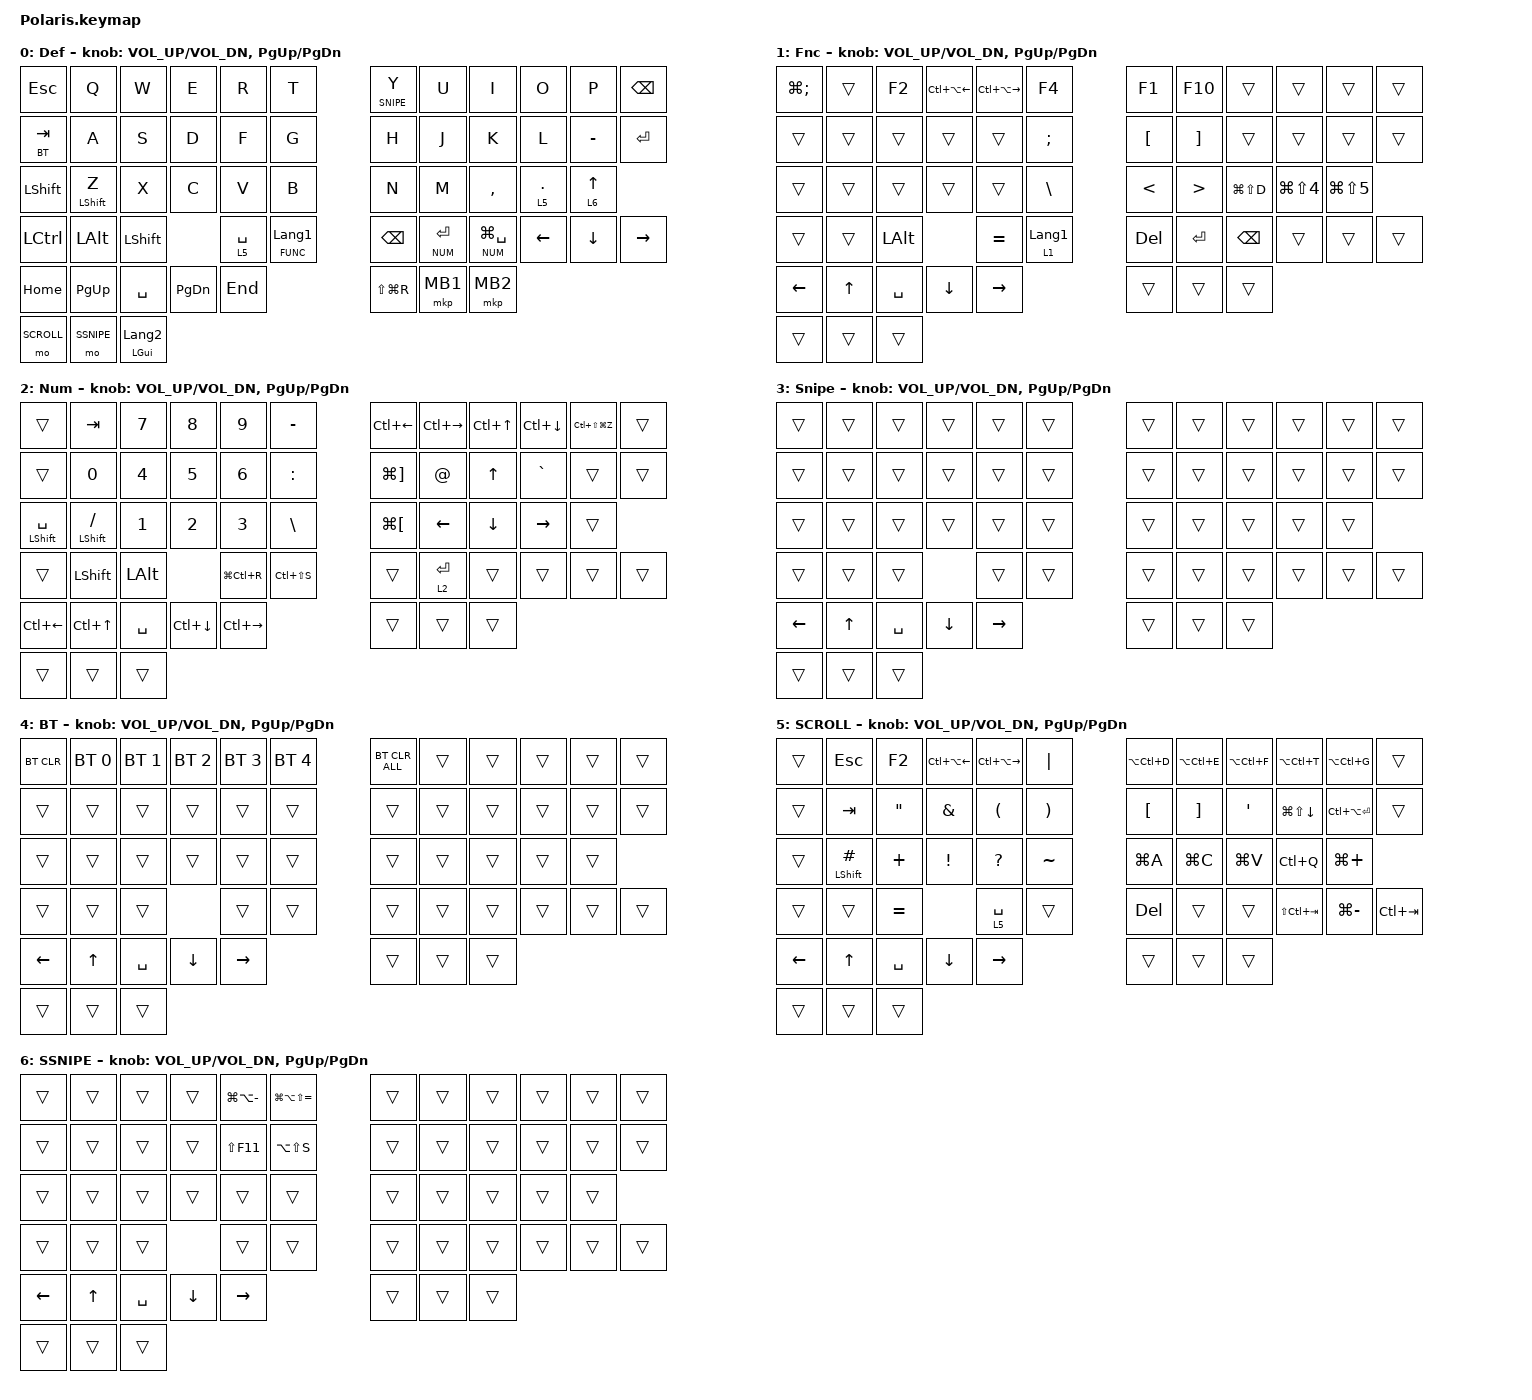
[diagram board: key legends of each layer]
// #include <layout_shift.dtsi>

#include <behaviors.dtsi>
#include <dt-bindings/zmk/bt.h>
#include <dt-bindings/zmk/keys.h>
#include <dt-bindings/zmk/pointing.h>
#include "layout_shift.dtsi"

/ {
    behaviors {
        z_shft: zmk,behavior-hold-tap {
            compatible = "zmk,behavior-hold-tap";
            #binding-cells = <2>;
            flavor = "tap-preferred";
            tapping-term-ms = <250>;
            require-prior-idle-ms = <150>;
            bindings = <&kp>, <&kp>;
        };

        rsr_vol: rsr_vol {
            compatible = "zmk,behavior-runtime-sensor-rotate";
            #sensor-binding-cells = <0>;
            tap-ms = <5>;
            cw-binding = <&kp C_VOL_UP>;
            ccw-binding = <&kp C_VOL_DN>;
        };

        // mouse scroll

        rsr_msch: rsr_msch {
            compatible = "zmk,behavior-runtime-sensor-rotate";
            #sensor-binding-cells = <0>;
            tap-ms = <20>;
            cw-binding = <&msc SCRL_DOWN>;
            ccw-binding = <&msc SCRL_UP>;
        };

        rsr_mscv: rsr_mscv {
            compatible = "zmk,behavior-runtime-sensor-rotate";
            #sensor-binding-cells = <0>;
            tap-ms = <20>;
            cw-binding = <&msc SCRL_RIGHT>;
            ccw-binding = <&msc SCRL_LEFT>;
        };
    };
};

#define DEF 0
#define FUNC 1
#define NUM 2
#define SNIPE 3
#define BT 4
#define SCROLL 5
#define SSNIPE 6

// 打鍵の直後（150ms以内）に押した &lt は、押した瞬間にタップとして確定する（2026-09-25）。
// 既定だと離すまで出力が保留され、その間に押した次のキーも待たされる＝タイピングのもっさり感

&lt { require-prior-idle-ms = <150>; };

/ {
    combos {
        compatible = "zmk,combos";

        cmd+t {
            bindings = <&kp LG(T)>;
            key-positions = <5 4>;
            require-prior-idle-ms = <150>;
        };

        cmd+n {
            bindings = <&kp LG(N)>;
            key-positions = <30 31>;
            require-prior-idle-ms = <150>;
        };

        cmd+option+u {
            bindings = <&kp LA(LG(U))>;
            key-positions = <6 7>;
            require-prior-idle-ms = <150>;
        };

        cmd+shift+v {
            bindings = <&kp LG(LS(V))>;
            key-positions = <29 28>;
            require-prior-idle-ms = <150>;
        };

        cmd+w {
            bindings = <&kp LG(W)>;
            key-positions = <1 2>;
            require-prior-idle-ms = <150>;
        };

        cmd+g {
            bindings = <&kp LG(F)>;
            key-positions = <17 16>;
            require-prior-idle-ms = <150>;
        };
    };

    keymap {
        compatible = "zmk,keymap";

        default_layer {
            label = "Def";
            bindings = <
&kp ESCAPE  &kp Q             &kp W      &kp E          &kp R        &kp T                        &lt SNIPE Y    &kp U          &kp I              &kp O      &kp P           &kp BACKSPACE
&lt BT TAB  &kp A             &kp S      &kp D          &kp F        &kp G                        &kp H          &kp J          &kp K              &kp L      &kp MINUS       &kp ENTER
&kp LSHFT   &z_shft LSHIFT Z  &kp X      &kp C          &kp V        &kp B                        &kp N          &kp M          &kp COMMA          &lt 5 DOT  &lt 6 UP_ARROW
&kp LCTRL   &kp LALT          &kp LSHFT                 &lt 5 SPACE  &lt FUNC LANGUAGE_1          &kp BACKSPACE  &lt NUM ENTER  &lt NUM LG(SPACE)  &kp LEFT   &kp DOWN        &kp RIGHT
&kp HOME    &kp PAGE_UP       &kp SPACE  &kp PAGE_DOWN  &kp END                                   &kp LS(LG(R))  &mkp MB1       &mkp MB2
&mo SCROLL  &mo SSNIPE  &mt LGUI LANGUAGE_2
            >;

            sensor-bindings = <&inc_dec_kp C_VOL_UP C_VOL_DN &inc_dec_kp PG_UP PG_DN>;
        };

        function_layer {
            label = "Fnc";
            bindings = <
&kp LG(SEMICOLON)  &trans  &kp F2     &kp LC(LA(LEFT))  &kp LC(LA(RIGHT))  &kp F4                    &kp F1            &kp F10            &trans         &trans                &trans          &trans
&trans             &trans  &trans     &trans            &trans             &kp SEMICOLON             &kp LEFT_BRACKET  &kp RIGHT_BRACKET  &trans         &trans                &trans          &trans
&trans             &trans  &trans     &trans            &trans             &kp BACKSLASH             &kp LESS_THAN     &kp GREATER_THAN   &kp LG(LS(D))  &kp LG(LS(NUMBER_4))  &kp LG(LS(N5))
&trans             &trans  &kp LALT                     &kp EQUAL          &lt 1 LANGUAGE_1          &kp DELETE        &kp ENTER          &kp BKSP       &trans                &trans          &trans
&kp LEFT           &kp UP  &kp SPACE  &kp DOWN          &kp RIGHT                                    &trans            &trans             &trans
&trans             &trans  &trans
            >;

            sensor-bindings = <&inc_dec_kp C_VOL_UP C_VOL_DN &inc_dec_kp PG_UP PG_DN>;
        };

        num_layer {
            label = "Num";
            bindings = <
&trans           &kp TAB               &kp N7     &kp N8        &kp N9         &kp MINUS              &kp LC(LEFT)           &kp LC(RIGHT)  &kp LC(UP_ARROW)  &kp LC(DOWN)  &kp LC(LS(LG(Z)))  &trans
&trans           &kp N0                &kp N4     &kp N5        &kp N6         &kp COLON              &kp LG(RIGHT_BRACKET)  &kp AT_SIGN    &kp UP_ARROW      &kp GRAVE     &trans             &trans
&mt LSHFT SPACE  &z_shft LSHIFT SLASH  &kp N1     &kp N2        &kp N3         &kp BSLH               &kp LG(LEFT_BRACKET)   &kp LEFT       &kp DOWN          &kp RIGHT     &trans
&trans           &kp LSHFT             &kp LALT                 &kp LG(LC(R))  &kp LC(LS(S))          &trans                 &lt 2 ENTER    &trans            &trans        &trans             &trans
&kp LC(LEFT)     &kp LC(UP)            &kp SPACE  &kp LC(DOWN)  &kp LC(RIGHT)                         &trans                 &trans         &trans
&trans           &trans  &trans
            >;

            sensor-bindings = <&inc_dec_kp C_VOL_UP C_VOL_DN &inc_dec_kp PG_UP PG_DN>;
        };

        snipe_layer {
            label = "Snipe";
            bindings = <
&trans    &trans  &trans     &trans    &trans     &trans          &trans  &trans  &trans  &trans  &trans  &trans
&trans    &trans  &trans     &trans    &trans     &trans          &trans  &trans  &trans  &trans  &trans  &trans
&trans    &trans  &trans     &trans    &trans     &trans          &trans  &trans  &trans  &trans  &trans
&trans    &trans  &trans               &trans     &trans          &trans  &trans  &trans  &trans  &trans  &trans
&kp LEFT  &kp UP  &kp SPACE  &kp DOWN  &kp RIGHT                  &trans  &trans  &trans
&trans    &trans  &trans
            >;

            sensor-bindings = <&inc_dec_kp C_VOL_UP C_VOL_DN &inc_dec_kp PG_UP PG_DN>;
        };

        bt_layer {
            label = "BT";
            bindings = <
&bt BT_CLR  &bt BT_SEL 0  &bt BT_SEL 1  &bt BT_SEL 2  &bt BT_SEL 3  &bt BT_SEL 4          &bt BT_CLR_ALL  &trans  &trans  &trans  &trans  &trans
&trans      &trans        &trans        &trans        &trans        &trans                &trans          &trans  &trans  &trans  &trans  &trans
&trans      &trans        &trans        &trans        &trans        &trans                &trans          &trans  &trans  &trans  &trans
&trans      &trans        &trans                      &trans        &trans                &trans          &trans  &trans  &trans  &trans  &trans
&kp LEFT    &kp UP        &kp SPACE     &kp DOWN      &kp RIGHT                           &trans          &trans  &trans
&trans      &trans  &trans
            >;

            sensor-bindings = <&inc_dec_kp C_VOL_UP C_VOL_DN &inc_dec_kp PG_UP PG_DN>;
        };

        scroll_layer {
            label = "SCROLL";
            bindings = <
&trans    &kp ESC              &kp F2             &kp LC(LA(LEFT))  &kp LC(LA(RIGHT))     &kp PIPE                       &kp LA(LC(D))  &kp LA(LC(E))  &kp LA(LC(F))  &kp LA(LC(T))     &kp LA(LC(G))      &trans
&trans    &kp TAB              &kp DOUBLE_QUOTES  &kp AMPERSAND     &kp LEFT_PARENTHESIS  &kp RIGHT_PARENTHESIS          &kp LBKT       &kp RBKT       &kp APOS       &kp LG(LS(DOWN))  &kp LC(LA(ENTER))  &trans
&trans    &z_shft LSHIFT HASH  &kp PLUS           &kp EXCLAMATION   &kp QUESTION          &kp TILDE                      &kp LG(A)      &kp LG(C)      &kp LG(V)      &kp LC(Q)         &kp LG(PLUS)
&trans    &trans               &kp EQUAL                            &lt 5 SPACE           &trans                         &kp DELETE     &trans         &trans         &kp LS(LC(TAB))   &kp LG(MINUS)      &kp LC(TAB)
&kp LEFT  &kp UP               &kp SPACE          &kp DOWN          &kp RIGHT                                            &trans         &trans         &trans
&trans    &trans  &trans
            >;

            sensor-bindings = <&inc_dec_kp C_VOL_UP C_VOL_DN &inc_dec_kp PG_UP PG_DN>;
        };

        SSNIPE_layer {
            label = "SSNIPE";
            bindings = <
&trans    &trans  &trans     &trans    &kp LG(LA(MINUS))  &kp LG(LA(LS(EQUAL)))          &trans  &trans  &trans  &trans  &trans  &trans
&trans    &trans  &trans     &trans    &kp LS(F11)        &kp LA(LS(S))                  &trans  &trans  &trans  &trans  &trans  &trans
&trans    &trans  &trans     &trans    &trans             &trans                         &trans  &trans  &trans  &trans  &trans
&trans    &trans  &trans               &trans             &trans                         &trans  &trans  &trans  &trans  &trans  &trans
&kp LEFT  &kp UP  &kp SPACE  &kp DOWN  &kp RIGHT                                         &trans  &trans  &trans
&trans    &trans  &trans
            >;

            sensor-bindings = <&inc_dec_kp C_VOL_UP C_VOL_DN &inc_dec_kp PG_UP PG_DN>;
        };
    };
};
